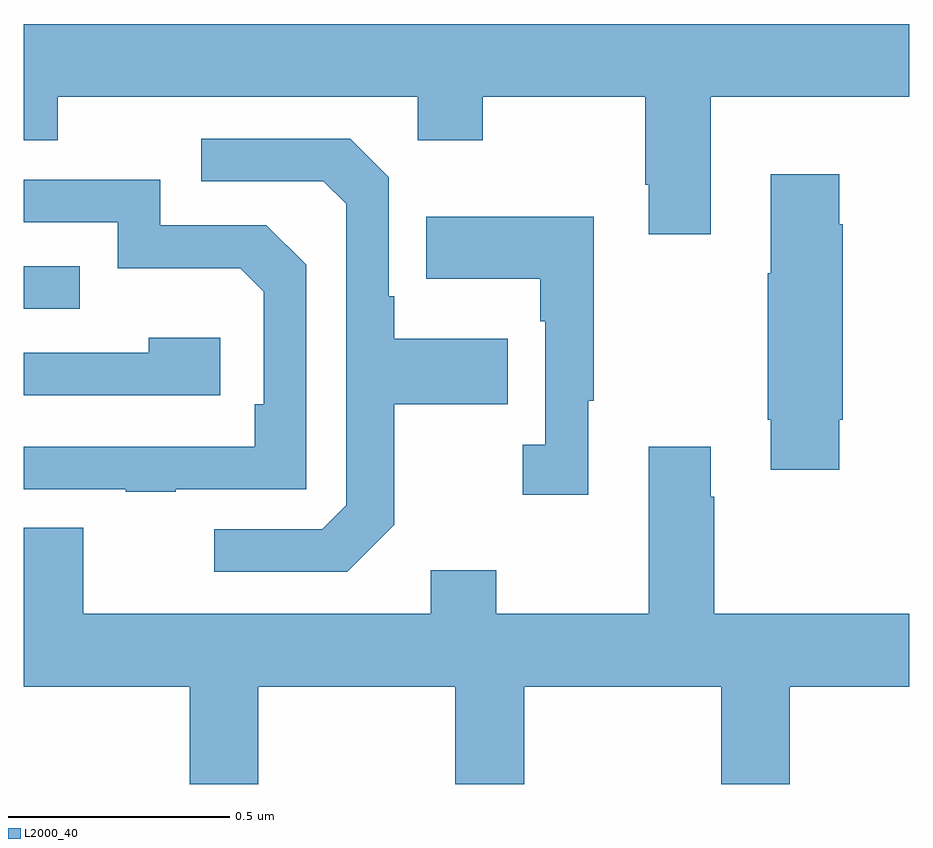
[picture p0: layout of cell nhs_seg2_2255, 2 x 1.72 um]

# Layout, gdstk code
import gdstk
lib = gdstk.Library(unit=1e-6, precision=1e-09)
def R(c, l, rs):  # rectangles x0, y0, x1, y1
    for r in rs: c.add(gdstk.rectangle(r[:2], r[2:], *l))
def P(c, l, *ps):  # polygons
    for p in ps: c.add(gdstk.Polygon(p, *l))
L2000_40 = (2000, 40)

nhs_seg2_2255 = lib.new_cell('nhs_seg2_2255')
R(nhs_seg2_2255, L2000_40, [(139,597.873,139.127,597.969)])
P(nhs_seg2_2255, L2000_40, [(140.551,598.352),(141,598.352),(141,598.516),(139,598.516),(139,598.253),(139.077,598.253),(139.077,598.352),(139.89,598.352),(139.89,598.253),(140.037,598.253),(140.037,598.352),(140.404,598.352),(140.404,598.153),(140.411,598.153),(140.411,598.041),(140.551,598.041)],
  [(139.837,597.385),(139.837,597.658),(140.093,597.658),(140.093,597.805),(139.837,597.805),(139.837,597.901),(139.824,597.901),(139.824,598.17),(139.737,598.257),(139.401,598.257),(139.401,598.161),(139.677,598.161),(139.728,598.11),(139.728,597.429),(139.674,597.375),(139.431,597.375),(139.431,597.279),(139.731,597.279)],
  [(140.842,597.622),(140.85,597.622),(140.85,598.064),(140.842,598.064),(140.842,598.177),(140.687,598.177),(140.687,597.953),(140.68,597.953),(140.68,597.622),(140.687,597.622),(140.687,597.51),(140.842,597.51)],
  [(139.343,597.465),(139.638,597.465),(139.638,597.972),(139.548,598.062),(139.308,598.062),(139.308,598.164),(139,598.164),(139,598.068),(139.212,598.068),(139.212,597.965),(139.489,597.965),(139.542,597.912),(139.542,597.658),(139.522,597.658),(139.522,597.561),(139,597.561),(139,597.465),(139.231,597.465),(139.231,597.46),(139.343,597.46)],
  [(140.275,597.665),(140.287,597.665),(140.287,598.081),(139.909,598.081),(139.909,597.941),(140.166,597.941),(140.166,597.845),(140.178,597.845),(140.178,597.566),(140.127,597.566),(140.127,597.453),(140.275,597.453)],
  [(139.444,597.808),(139.283,597.808),(139.283,597.774),(139,597.774),(139,597.678),(139.444,597.678)],
  [(139.53,597.02),(139.975,597.02),(139.975,596.8),(140.13,596.8),(140.13,597.02),(140.575,597.02),(140.575,596.8),(140.73,596.8),(140.73,597.02),(141,597.02),(141,597.184),(140.559,597.184),(140.559,597.449),(140.551,597.449),(140.551,597.562),(140.411,597.562),(140.411,597.184),(140.067,597.184),(140.067,597.283),(139.919,597.283),(139.919,597.184),(139.135,597.184),(139.135,597.379),(139,597.379),(139,597.02),(139.375,597.02),(139.375,596.8),(139.53,596.8)])

lib.write_gds('nhs_seg2_2255.gds')
